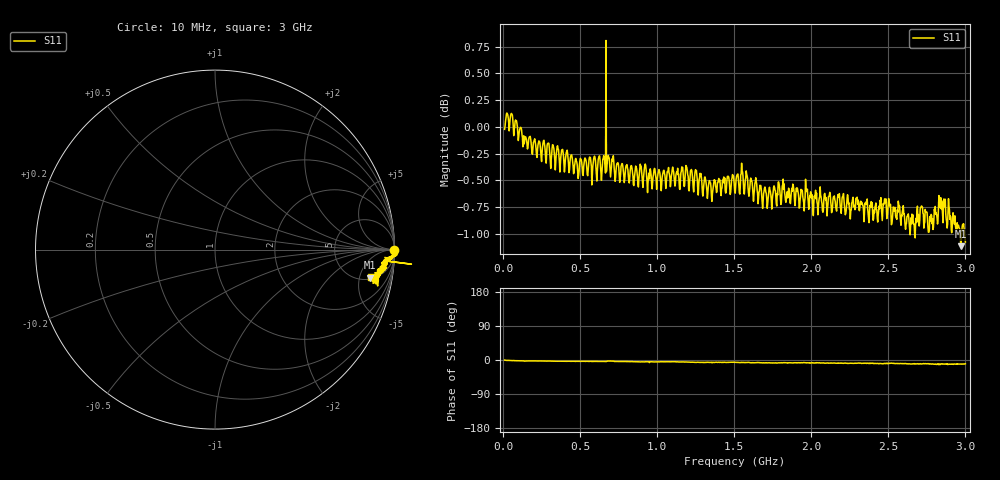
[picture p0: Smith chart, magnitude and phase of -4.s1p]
# HZ S RI R 50
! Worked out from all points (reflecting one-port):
!   1010 points, 10 MHz to 3 GHz, reference 50 ohm
!   lowest |S11| = -1.1 dB at 2.97 GHz (marker M1), VSWR 15.58, Z = 266 - j367 ohm
!   phase of S11 starts at -0 deg and turns -10 deg over the sweep
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1e7  0.9974 -0.00345
4.555996e7  1.008 -0.0235
1.403865e8  0.9843 -0.0505
3.863429e8  0.9745 -0.0564
6.500793e8  0.9646 -0.0641
6.530426e8  0.9675 -0.0627
6.737859e8  0.9594 -0.0444
6.826759e8  0.9686 -0.0471
6.856392e8  0.9663 -0.0507
7.597225e8  0.9435 -0.0667
9.049257e8  0.9397 -0.0772
1.133102e9  0.9531 -0.0797
1.296085e9  0.9226 -0.1017
1.506482e9  0.9259 -0.0986
1.749475e9  0.9206 -0.1234
1.879861e9  0.9317 -0.1265
2.039881e9  0.9126 -0.1179
2.253241e9  0.8954 -0.1354
2.303617e9  0.9149 -0.1312
2.451784e9  0.9142 -0.1509
2.519941e9  0.8907 -0.129
2.62662e9  0.8949 -0.1633
2.745154e9  0.8984 -0.1585
2.8222e9  0.8886 -0.1685
2.854797e9  0.8857 -0.17
2.899247e9  0.8875 -0.1778
2.970367e9  0.8654 -0.1563
3e9  0.8697 -0.1545
